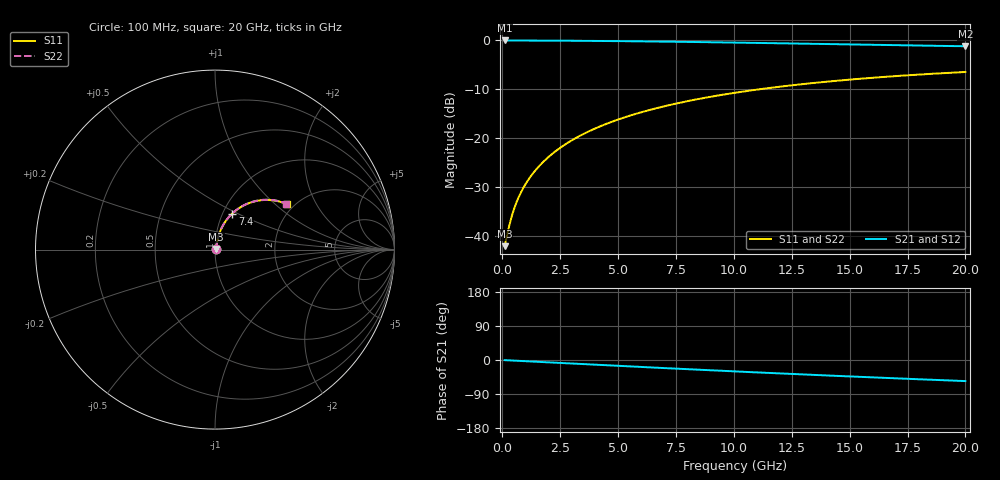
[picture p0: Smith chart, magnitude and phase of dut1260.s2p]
! Touchstone file exported from HFSS 2026.1.0
!  File:  C:/ffzhzh/LocalFiles/Ansys_Project_Files/temp_train_BSMRDL_1260_1783177481_51560.aedt
!  Generated:  11:06:07 PM Jul  4, 2026
!  Design:  BSMRDL
!  Project:  temp_train_BSMRDL_1260_1783177481_51560
! Variables:
!  h_bsmrdl = 2.38um
!  h_ox = 20um
!  h_rdl = 5um
!  h_sub = 80um
!  h_tmrdl = 5um
!  h_tsv = 80um
!  h_via = 3um
!  l_bsmrdl = 860.42um
!  l_sub = 1260.42um
!  l_tmrdl = 200um
!  m_sub = 200um
!  pitch = 40.83um
!  r_tsv = 6um
!  s_tmrdl = 10um
!  w_bsmrdl = 18.59um
!  w_sub = 500um
!  w_tmrdl = 12um
!  x_tsv_center1 = 206um
!  x_tsv_center2 = 1085.01um
!  x_tsv_center3 = 1297.01um
!  x_tsv_center4 = 2176.02um
!  x_tsv_center5 = 2388.02um
!  x_tsv_center6 = 3267.03um
# GHz S MA R 50.000000
! Terminal data exported
! Port[1] = BSM_RDL1_1_T1
! Port[2] = BSM_RDL1_1_T2
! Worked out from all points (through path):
!   200 points, 100 MHz to 20 GHz, reference 50 ohm
!   highest |S21| = -0.06 dB at 100 MHz (marker M1); lowest = -1.3 dB at 20 GHz (marker M2)
!   group delay of S21, straight-line fit = 7.74 ps
!   lowest |S11| = -42.1 dB at 100 MHz (marker M3), VSWR 1.02, Z = 50.7 + j0.351 ohm
!   |S11| at or under -10 dB: start of sweep to 11.17 GHz
!   |S22| runs from -42.1 to -6.5 dB; largest |S21 - S12| = 7.1e-15
!   S11 on the Smith chart (normalised r, x): 100 MHz: 1.01, +0.01; 7.4 GHz: 1.11, +0.47; 20 GHz: 1.82, +1.19
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0.1  0.007835 26.2  0.993 -0.3  0.993 -0.3  0.007835 26.2
! Gamma 0 0 0 0
! Port Impedance 50 0 50 0
0.3  0.01269 53.6  0.9926 -1.0  0.9926 -1.0  0.01269 53.6
0.4  0.01561 59.6  0.9923 -1.3  0.9923 -1.3  0.01561 59.6
0.5  0.0186 63.5  0.992 -1.6  0.992 -1.6  0.0186 63.5
0.6  0.02161 66.3  0.9918 -1.9  0.9918 -1.9  0.02161 66.3
0.7  0.02462 68.3  0.9915 -2.2  0.9915 -2.2  0.02462 68.3
0.9  0.03064 71.0  0.9911 -2.9  0.9911 -2.9  0.03064 71.0
1.2  0.0397 73.4  0.9905 -3.8  0.9905 -3.8  0.0397 73.4
1.4  0.04577 74.3  0.9901 -4.4  0.9901 -4.4  0.04577 74.3
1.7  0.05491 75.1  0.9894 -5.3  0.9894 -5.3  0.05491 75.1
2.2  0.07018 75.5  0.9883 -6.9  0.9883 -6.9  0.07018 75.5
2.8  0.08849 75.1  0.9866 -8.7  0.9866 -8.7  0.08848 75.2
3.5  0.1097 74.0  0.9843 -10.8  0.9843 -10.8  0.1097 74.1
4.2  0.1307 72.6  0.9815 -13.0  0.9815 -13.0  0.1307 72.7
5  0.1543 70.7  0.9778 -15.4  0.9778 -15.4  0.1543 70.8
6.8  0.2056 66.1  0.9676 -20.8  0.9676 -20.8  0.2055 66.2
7.4  0.222 64.5  0.9638 -22.5  0.9638 -22.5  0.2219 64.6
8.7  0.2563 61.0  0.9547 -26.3  0.9547 -26.3  0.2562 61.1
10.1  0.2911 57.2  0.9442 -30.2  0.9442 -30.2  0.2911 57.4
13.4  0.3642 48.5  0.9175 -39.2  0.9175 -39.2  0.3642 48.8
16.7  0.4246 40.3  0.8906 -47.7  0.8906 -47.7  0.4245 40.6
20  0.4728 32.4  0.8659 -55.6  0.8659 -55.6  0.4726 32.8
